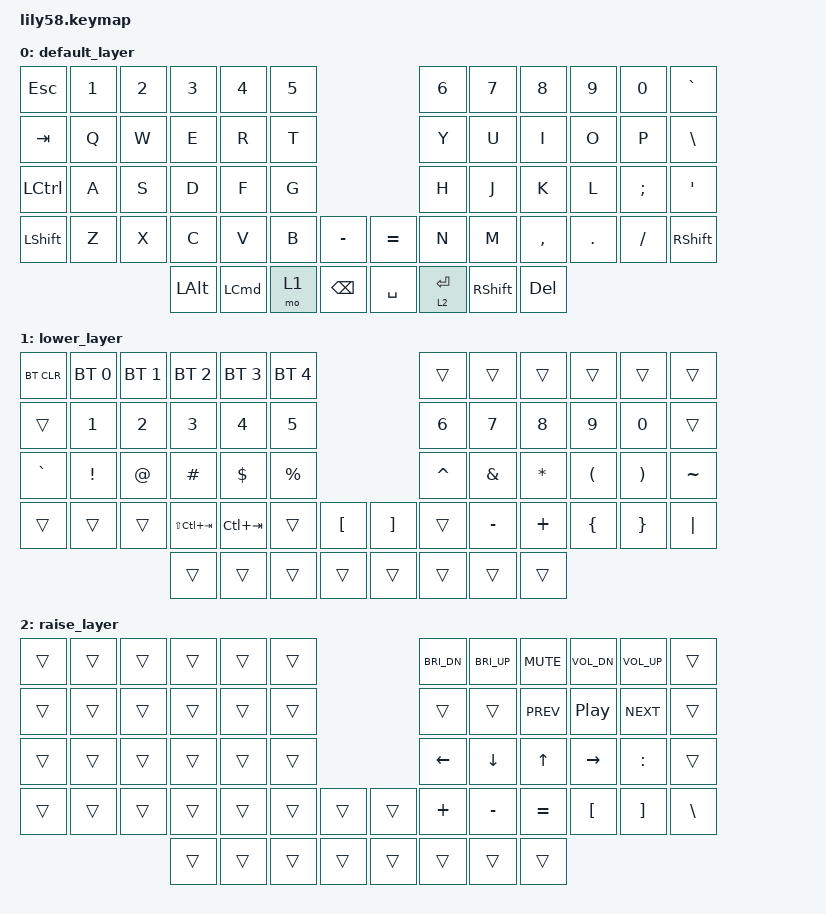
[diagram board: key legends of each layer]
/*
 * Copyright (c) 2020 The ZMK Contributors
 *
 * SPDX-License-Identifier: MIT
 */

#include <behaviors.dtsi>
#include <dt-bindings/zmk/bt.h>
#include <dt-bindings/zmk/keys.h>

/ {
    keymap {
        compatible = "zmk,keymap";

        default_layer {
            // ------------------------------------------------------------------------------------------------------------
            // |  ESC  |  1  |  2  |  3   |  4   |  5   |                   |  6   |  7    |  8    |  9   |   0   |   `   |
            // |  TAB  |  Q  |  W  |  E   |  R   |  T   |                   |  Y   |  U    |  I    |  O   |   P   |   -   |
            // |  CTRL |  A  |  S  |  D   |  F   |  G   |                   |  H   |  J    |  K    |  L   |   ;   |   '   |
            // | SHIFT |  Z  |  X  |  C   |  V   |  B   |   "["  |  |  "]"  |  N   |  M    |  ,    |  .   |   /   | SHIFT |
            //                     | ALT  | GUI  | LOWER|  SPACE |  | ENTER | RAISE| BSPC  | GUI   |

            bindings = <
&kp ESCAPE  &kp N1  &kp N2  &kp N3    &kp N4    &kp N5                              &kp N6       &kp N7      &kp N8     &kp N9   &kp N0    &kp GRAVE
&kp TAB     &kp Q   &kp W   &kp E     &kp R     &kp T                               &kp Y        &kp U       &kp I      &kp O    &kp P     &kp BACKSLASH
&kp LCTRL   &kp A   &kp S   &kp D     &kp F     &kp G                               &kp H        &kp J       &kp K      &kp L    &kp SEMI  &kp SQT
&kp LSHFT   &kp Z   &kp X   &kp C     &kp V     &kp B   &kp MINUS        &kp EQUAL  &kp N        &kp M       &kp COMMA  &kp DOT  &kp FSLH  &kp RSHIFT
                            &kp LALT  &kp LCMD  &mo 1   &kp BACKSPACE    &kp SPACE  &lt 2 ENTER  &kp RSHIFT  &kp DEL
            >;
        };

        lower_layer {
            // ------------------------------------------------------------------------------------------------------------
            // | BTCLR | BT1 | BT2 |  BT3 |  BT4 |  BT5 |                   |      |       |       |      |       |       |
            // |  F1   |  F2 |  F3 |  F4  |  F5  |  F6  |                   |  F7  |  F8   |  F9   |  F10 |  F11  |  F12  |
            // |   `   |  !  |  @  |  #   |  $   |  %   |                   |  ^   |  &    |  *    |  (   |   )   |   ~   |
            // |       |     |     |      |      |      |        |  |       |      |  _    |  +    |  {   |   }   |  "|"  |
            //                     |      |      |      |        |  |       |      |       |       |

            bindings = <
&bt BT_CLR  &bt BT_SEL 0  &bt BT_SEL 1  &bt BT_SEL 2     &bt BT_SEL 3  &bt BT_SEL 4                                         &trans     &trans     &trans     &trans    &trans    &trans
&trans      &kp N1        &kp N2        &kp N3           &kp N4        &kp N5                                               &kp N6     &kp N7     &kp N8     &kp N9    &kp N0    &trans
&kp GRAVE   &kp EXCL      &kp AT        &kp HASH         &kp DOLLAR    &kp PRCNT                                            &kp CARET  &kp AMPS   &kp ASTRK  &kp LPAR  &kp RPAR  &kp TILDE
&trans      &trans        &trans        &kp LS(LC(TAB))  &kp LC(TAB)   &trans        &kp LEFT_BRACKET    &kp RIGHT_BRACKET  &trans     &kp MINUS  &kp PLUS   &kp LBRC  &kp RBRC  &kp PIPE
                                        &trans           &trans        &trans        &trans              &trans             &trans     &trans     &trans
            >;
        };

        raise_layer {
            // ------------------------------------------------------------------------------------------------------------
            // |       |     |     |      |      |      |                   |      |       |       |      |       |       |
            // |   `   |  1  |  2  |  3   |  4   |  5   |                   |  6   |   7   |   8   |  9   |   0   |       |
            // |   F1  |  F2 |  F3 |  F4  |  F5  |  F6  |                   |      |   <-  |   v   |  ^   |  ->   |       |
            // |   F7  |  F8 |  F9 |  F10 |  F11 |  F12 |        |  |       |  +   |   -   |   =   |  [   |   ]   |   \   |
            //                     |      |      |      |        |  |       |      |       |       |

            bindings = <
&trans  &trans  &trans  &trans  &trans  &trans                    &kp C_BRI_DN  &kp C_BRI_UP  &kp C_MUTE  &kp C_VOL_DN  &kp C_VOL_UP  &trans
&trans  &trans  &trans  &trans  &trans  &trans                    &trans        &trans        &kp C_PREV  &kp C_PP      &kp C_NEXT    &trans
&trans  &trans  &trans  &trans  &trans  &trans                    &kp LEFT      &kp DOWN      &kp UP      &kp RIGHT     &kp COLON     &trans
&trans  &trans  &trans  &trans  &trans  &trans  &trans    &trans  &kp PLUS      &kp MINUS     &kp EQUAL   &kp LBKT      &kp RBKT      &kp BSLH
                        &trans  &trans  &trans  &trans    &trans  &trans        &trans        &trans
            >;
        };
    };
};
